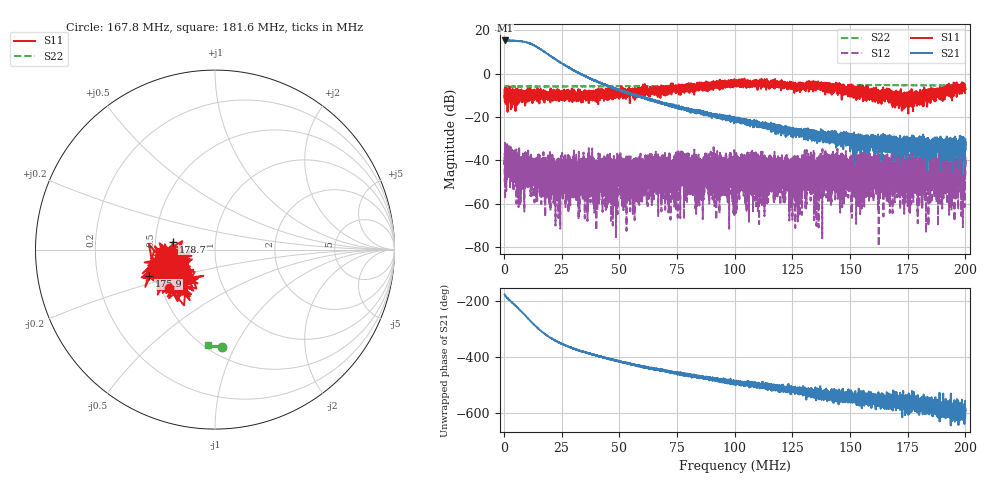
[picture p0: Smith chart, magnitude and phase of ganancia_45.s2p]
# Hz S DB R 50
! CMT, M5065, 19127446, 24.2.4/2
! Date: 10/29/2024 12:42:17 PM
! Data: Format (Calibration Info)
! Freq	S11:dB/Ang(F2)	S21:dB/Ang(F2)	S12:dB/Ang(F2)	S22:dB/Ang(F2)
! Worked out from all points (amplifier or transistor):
!   9000 points, 300 kHz to 200 MHz, reference 50 ohm
!   highest |S21| = 15.3 dB at 433.1 kHz (marker M1)
!   |S21| within 3 dB of that: start of sweep to 14.23 MHz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
!   unconditionally stable (mu >= 1): start of sweep to end of sweep
!   at 33.59 MHz: K = 114.61, MAG = 1.4 dB, |S12| = -50.4 dB
!   at 100.2 MHz: K = 398.86, MAG = -18.0 dB, |S12| = -43.1 dB
!   at 200 MHz: K = 2103.64, MAG = -27.9 dB, |S12| = -47.1 dB
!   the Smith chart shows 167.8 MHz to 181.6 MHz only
!   S11 on the Smith chart (normalised r, x): 167.8 MHz: 0.54, -0.26; 175.9 MHz: 0.45, -0.16; 178.7 MHz: 0.62, +0.06; 181.6 MHz: 0.58, -0.10
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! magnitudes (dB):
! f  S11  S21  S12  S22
! 300 kHz  -10.8  15.2  -40.1  -6.0
! 433.1 kHz  -9.4  15.3  -43.3  -6.0
! 7.845 MHz  -9.1  14.9  -43.3  -6.0
! 11.99 MHz  -7.8  13.6  -39.2  -5.9
! 23.02 MHz  -7.6  6.1  -40.7  -5.9
! 33.59 MHz  -9.9  -0.3  -50.4  -5.9
! 66.87 MHz  -9.6  -12.9  -65.8  -5.7
! 83.78 MHz  -6.1  -17.6  -45.5  -5.6
! 90.53 MHz  -5.1  -18.7  -37.8  -5.6
! 100.2 MHz  -4.8  -21.2  -43.1  -5.6
! 106.6 MHz  -3.8  -23.0  -43.4  -5.6
! 117.3 MHz  -4.5  -26.3  -47.3  -5.6
! 133.4 MHz  -6.2  -31.0  -43.7  -5.3
! 166.7 MHz  -9.9  -35.5  -46.9  -5.3
! 167.8 MHz  -9.5  -29.0  -53.1  -5.3
! 175.9 MHz  -8.1  -30.5  -43.8  -5.3
! 178.7 MHz  -12.5  -29.8  -51.9  -5.4
! 181.6 MHz  -11.3  -34.7  -40.1  -5.4
! 186.5 MHz  -8.5  -31.1  -46.9  -5.4
! 189.2 MHz  -8.2  -44.5  -60.1  -5.4
! 196.9 MHz  -6.7  -33.1  -38.9  -5.5
! 200 MHz  -6.8  -30.3  -47.1  -5.5
